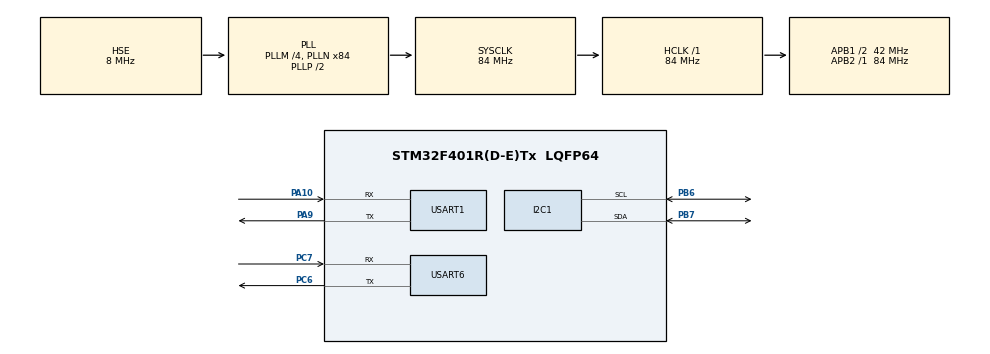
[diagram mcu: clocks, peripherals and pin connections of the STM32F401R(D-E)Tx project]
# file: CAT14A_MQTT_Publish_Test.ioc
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Mcu.Family=STM32F4
Mcu.Name=STM32F401R(D-E)Tx
Mcu.Package=LQFP64
NVIC.PriorityGroup=NVIC_PRIORITYGROUP_4
NVIC.USART1_IRQn=true\:0\:0\:false\:false\:true\:true\:true\:true
PA10.Mode=Asynchronous
PA10.Signal=USART1_RX
PA13.Mode=Serial_Wire
PA13.Signal=SYS_JTMS-SWDIO
PA14.Mode=Serial_Wire
PA14.Signal=SYS_JTCK-SWCLK
PA9.Mode=Asynchronous
PA9.Signal=USART1_TX
PB6.Mode=I2C
PB6.Signal=I2C1_SCL
PB7.Mode=I2C
PB7.Signal=I2C1_SDA
PC6.Mode=Asynchronous
PC6.Signal=USART6_TX
PC7.Mode=Asynchronous
PC7.Signal=USART6_RX
PH0\ -\ OSC_IN.Mode=HSE-External-Clock-Source
PH0\ -\ OSC_IN.Signal=RCC_OSC_IN
PH1\ -\ OSC_OUT.Mode=HSE-External-Clock-Source
PH1\ -\ OSC_OUT.Signal=RCC_OSC_OUT
ProjectManager.HeapSize=0x200
ProjectManager.StackSize=0x400
ProjectManager.TargetToolchain=STM32CubeIDE
RCC.48MHZClocksFreq_Value=42000000
RCC.AHBFreq_Value=84000000
RCC.APB1CLKDivider=RCC_HCLK_DIV2
RCC.APB1Freq_Value=42000000
RCC.APB1TimFreq_Value=84000000
RCC.APB2Freq_Value=84000000
RCC.APB2TimFreq_Value=84000000
RCC.CortexFreq_Value=84000000
RCC.HCLKFreq_Value=84000000
RCC.HSE_VALUE=8000000
RCC.HSI_VALUE=16000000
RCC.LSE_VALUE=32768
RCC.PLLM=4
RCC.PLLN=84
RCC.PLLSourceVirtual=RCC_PLLSOURCE_HSE
RCC.SYSCLKFreq_VALUE=84000000
RCC.SYSCLKSource=RCC_SYSCLKSOURCE_PLLCLK
RCC.VCOOutputFreq_Value=168000000
USART1.VirtualMode=VM_ASYNC
USART6.VirtualMode=VM_ASYNC
board=custom

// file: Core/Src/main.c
/* USER CODE BEGIN Header */
/**
  ******************************************************************************
  * @file           : main.c
  * @brief          : CAT 14 - Steps 1-3 : MQTT CONNECT + PUBLISH through the ESP8266 (course ESPLib)
  *                    Publishes "hello #n" to vaishali/stm32/test every second.
  ******************************************************************************
  * @attention
  *
  * Copyright (c) 2026 STMicroelectronics.
  * All rights reserved.
  *
  * This software is licensed under terms that can be found in the LICENSE file
  * in the root directory of this software component.
  * If no LICENSE file comes with this software, it is provided AS-IS.
  *
  ******************************************************************************
  */
/* USER CODE END Header */
#include "main.h"

/* USER CODE BEGIN Includes */
#include "ESPLib.h"
#include "wifi_config.h"
#include <stdio.h>
#include <string.h>
/* USER CODE END Includes */

/* USER CODE BEGIN PD */
#define DBG_UART          (&huart6)          /* USART6 PC6/PC7 -> PuTTY 115200 */
#define MQTT_BROKER       "broker.emqx.io"   /* public test broker            */
#define MQTT_PORT         "1883"             /* plain (unencrypted) MQTT      */
#define TEST_TOPIC        "vaishali/stm32/test"
#define RETRY_MS          5000U              /* wait before reconnecting      */
#define CLIENT_ID         "stm32-vaishali-test"
/* USER CODE END PD */

I2C_HandleTypeDef hi2c1;
UART_HandleTypeDef huart1;
UART_HandleTypeDef huart6;

/* USER CODE BEGIN PV */
static uint32_t msg_no = 0;
/* USER CODE END PV */

void SystemClock_Config(void);
static void MX_GPIO_Init(void);
static void MX_I2C1_Init(void);
static void MX_USART1_UART_Init(void);
static void MX_USART6_UART_Init(void);

/* USER CODE BEGIN 0 */
static void dbg(const char *s)
{
  HAL_UART_Transmit(DBG_UART, (uint8_t *)s, (uint16_t)strlen(s), 200);
}

/* Print the library's error counters whenever they change */
static void report_diagnostics(void)
{
  static uint32_t last_ovf = 0, last_drop = 0;
  uint32_t ovf = ESP8266_rxOverflows(), drop = MQTT_droppedMessages();
  if (ovf != last_ovf || drop != last_drop)
  {
    char line[80];
    snprintf(line, sizeof(line), "[diag] UART RX overflow bytes: %lu, dropped MQTT packets: %lu\r\n",
             (unsigned long)ovf, (unsigned long)drop);
    dbg(line);
    last_ovf = ovf;
    last_drop = drop;
  }
}

/* Wi-Fi + TCP + MQTT CONNECT. Every step is checked; returns 1 only when the
 * broker has answered CONNACK "accepted". Optional broker login: define
 * MQTT_USERNAME / MQTT_PASSWORD in wifi_secrets.h. */
static int mqtt_start(const char *client_id)
{
  MQTT_InitTypeDef_t cfg;

  dbg("ESP8266 init (station mode)...\r\n");
  if (ESP8266_Init(StationMode, huart1) != funcOk) { dbg("  ESP8266 not responding\r\n"); return 0; }
  dbg("Joining " WIFI_SSID "...\r\n");
  if (ESP8266_wifiConnect(WIFI_SSID, WIFI_PASSWORD) != funcOk) { dbg("  Wi-Fi join failed\r\n"); return 0; }
  dbg("TCP connect to " MQTT_BROKER ":" MQTT_PORT "...\r\n");
  if (ESP8266_portConnect("TCP", MQTT_BROKER, MQTT_PORT) != funcOk) { dbg("  TCP connect failed\r\n"); return 0; }

  memset(&cfg, 0, sizeof(cfg));
  cfg.keepAlive   = 120;                 /* seconds; PINGREQ / publishes keep it alive */
  cfg.connectFlag = CleanSession;        /* no stored session */
  cfg.clientID    = (char *)client_id;
#if defined(MQTT_USERNAME) && defined(MQTT_PASSWORD)
  cfg.username     = MQTT_USERNAME;
  cfg.password     = MQTT_PASSWORD;
  cfg.connectFlag |= UserNameFlag | PasswordFlag;
#endif
  if (MQTT_connectBroker(&cfg) != funcOk) { dbg("  broker refused / no CONNACK\r\n"); return 0; }
  dbg("MQTT connected (CONNACK accepted) as ");
  dbg(client_id);
  dbg("\r\n");
  return 1;
}
/* USER CODE END 0 */

int main(void)
{

  /* MCU Configuration--------------------------------------------------------*/

  /* Reset of all peripherals, Initializes the Flash interface and the Systick. */
  HAL_Init();

  /* Configure the system clock */
  SystemClock_Config();

  /* Initialize all configured peripherals */
  MX_GPIO_Init();
  MX_I2C1_Init();
  MX_USART1_UART_Init();
  MX_USART6_UART_Init();
  /* USER CODE BEGIN 2 */
  dbg("\r\nCAT14A - MQTT publish test\r\n");
  while (!mqtt_start(CLIENT_ID)) HAL_Delay(RETRY_MS);
  /* USER CODE END 2 */

  /* Infinite loop */
  while (1)
  {

    /* USER CODE BEGIN 3 */
    char payload[48];
    snprintf(payload, sizeof(payload), "hello #%lu from STM32 Nucleo", (unsigned long)++msg_no);
    report_diagnostics();
    if (!MQTT_isConnected())
    {
      dbg("Connection lost - reconnecting\r\n");
      while (!mqtt_start(CLIENT_ID)) HAL_Delay(RETRY_MS);
    }
    if (MQTT_publishTopic(TEST_TOPIC, payload, QoS0) != funcOk)   /* PUBLISH: 0x30, length, topic, message */
      dbg("PUB failed: ");
    dbg("PUB " TEST_TOPIC " : ");
    dbg(payload);
    dbg("\r\n");
    HAL_Delay(1000);
  }
  /* USER CODE END 3 */
}

void SystemClock_Config(void)
{
  RCC_OscInitTypeDef RCC_OscInitStruct = {0};
  RCC_ClkInitTypeDef RCC_ClkInitStruct = {0};

  /** Configure the main internal regulator output voltage
  */
  __HAL_RCC_PWR_CLK_ENABLE();
  __HAL_PWR_VOLTAGESCALING_CONFIG(PWR_REGULATOR_VOLTAGE_SCALE2);

  /** Initializes the RCC Oscillators according to the specified parameters
  * in the RCC_OscInitTypeDef structure.
  */
  RCC_OscInitStruct.OscillatorType = RCC_OSCILLATORTYPE_HSE;
  RCC_OscInitStruct.HSEState = RCC_HSE_BYPASS;
  RCC_OscInitStruct.PLL.PLLState = RCC_PLL_ON;
  RCC_OscInitStruct.PLL.PLLSource = RCC_PLLSOURCE_HSE;
  RCC_OscInitStruct.PLL.PLLM = 4;
  RCC_OscInitStruct.PLL.PLLN = 84;
  RCC_OscInitStruct.PLL.PLLP = RCC_PLLP_DIV2;
  RCC_OscInitStruct.PLL.PLLQ = 4;
  if (HAL_RCC_OscConfig(&RCC_OscInitStruct) != HAL_OK)
  {
    Error_Handler();
  }

  /** Initializes the CPU, AHB and APB buses clocks
  */
  RCC_ClkInitStruct.ClockType = RCC_CLOCKTYPE_HCLK|RCC_CLOCKTYPE_SYSCLK
                              |RCC_CLOCKTYPE_PCLK1|RCC_CLOCKTYPE_PCLK2;
  RCC_ClkInitStruct.SYSCLKSource = RCC_SYSCLKSOURCE_PLLCLK;
  RCC_ClkInitStruct.AHBCLKDivider = RCC_SYSCLK_DIV1;
  RCC_ClkInitStruct.APB1CLKDivider = RCC_HCLK_DIV2;
  RCC_ClkInitStruct.APB2CLKDivider = RCC_HCLK_DIV1;

  if (HAL_RCC_ClockConfig(&RCC_ClkInitStruct, FLASH_LATENCY_2) != HAL_OK)
  {
    Error_Handler();
  }
}

static void MX_I2C1_Init(void)
{

  hi2c1.Instance = I2C1;
  hi2c1.Init.ClockSpeed = 100000;
  hi2c1.Init.DutyCycle = I2C_DUTYCYCLE_2;
  hi2c1.Init.OwnAddress1 = 0;
  hi2c1.Init.AddressingMode = I2C_ADDRESSINGMODE_7BIT;
  hi2c1.Init.DualAddressMode = I2C_DUALADDRESS_DISABLE;
  hi2c1.Init.OwnAddress2 = 0;
  hi2c1.Init.GeneralCallMode = I2C_GENERALCALL_DISABLE;
  hi2c1.Init.NoStretchMode = I2C_NOSTRETCH_DISABLE;
  if (HAL_I2C_Init(&hi2c1) != HAL_OK)
  {
    Error_Handler();
  }

}

static void MX_USART1_UART_Init(void)
{

  huart1.Instance = USART1;
  huart1.Init.BaudRate = 115200;
  huart1.Init.WordLength = UART_WORDLENGTH_8B;
  huart1.Init.StopBits = UART_STOPBITS_1;
  huart1.Init.Parity = UART_PARITY_NONE;
  huart1.Init.Mode = UART_MODE_TX_RX;
  huart1.Init.HwFlowCtl = UART_HWCONTROL_NONE;
  huart1.Init.OverSampling = UART_OVERSAMPLING_16;
  if (HAL_UART_Init(&huart1) != HAL_OK)
  {
    Error_Handler();
  }

}

static void MX_USART6_UART_Init(void)
{

  huart6.Instance = USART6;
  huart6.Init.BaudRate = 115200;
  huart6.Init.WordLength = UART_WORDLENGTH_8B;
  huart6.Init.StopBits = UART_STOPBITS_1;
  huart6.Init.Parity = UART_PARITY_NONE;
  huart6.Init.Mode = UART_MODE_TX_RX;
  huart6.Init.HwFlowCtl = UART_HWCONTROL_NONE;
  huart6.Init.OverSampling = UART_OVERSAMPLING_16;
  if (HAL_UART_Init(&huart6) != HAL_OK)
  {
    Error_Handler();
  }

}

static void MX_GPIO_Init(void)
{

  /* GPIO Ports Clock Enable */
  __HAL_RCC_GPIOH_CLK_ENABLE();
  __HAL_RCC_GPIOC_CLK_ENABLE();
  __HAL_RCC_GPIOA_CLK_ENABLE();
  __HAL_RCC_GPIOB_CLK_ENABLE();

}

void Error_Handler(void)
{
  __disable_irq();
  while (1)
  {
  }
}
